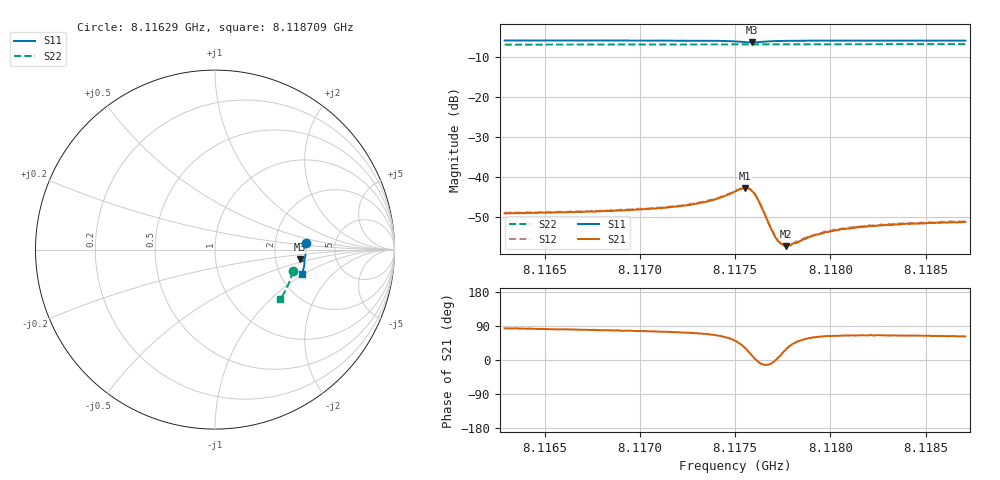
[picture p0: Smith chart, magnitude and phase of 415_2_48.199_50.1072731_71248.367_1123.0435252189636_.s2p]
#  HZ  S  RI  R  50.00
! Rohde & Schwarz Vector Network Analyzer
! Rohde-Schwarz,ZNB20-2Port,1311601062101988,3.16
! Created: UTC 3/20/2024, 11:54:41 AM
! freq[Hz]  re:S11  im:S11  re:S21  im:S21  re:S12  im:S12  re:S22  im:S22
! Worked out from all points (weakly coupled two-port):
!   401 points, 8.11629 GHz to 8.118709 GHz, reference 50 ohm
!   highest |S21| = -42.72 dB at 8.117554 GHz (marker M1); lowest = -57.2 dB at 8.117766 GHz (marker M2)
!   lowest |S11| = -6.4 dB at 8.11759 GHz (marker M3), VSWR 2.83, Z = 139 - j19.1 ohm
!   |S11| at or under -10 dB: nowhere
!   |S22| runs from -6.9 to -6.8 dB; largest |S21 - S12| = 0.00019
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8.1162897e9  0.5058 0.0367  0.0004 0.00352  0.000462 0.00358  0.433 -0.1207
8.1166949e9  0.5064 0.00597  0.000657 0.00362  0.000693 0.0037  0.4257 -0.1479
8.1171002e9  0.5048 -0.0257  0.00107 0.00399  0.00112 0.00405  0.4166 -0.1748
8.1172393e9  0.5033 -0.0374  0.00138 0.00422  0.00143 0.00429  0.4129 -0.1839
8.1173361e9  0.5013 -0.0462  0.00175 0.00457  0.00182 0.00462  0.4103 -0.1902
8.1174208e9  0.4979 -0.0549  0.00249 0.00496  0.00257 0.00503  0.4078 -0.1956
8.1174994e9  0.4899 -0.0627  0.00416 0.00517  0.0043 0.00525  0.4053 -0.2007
8.1175539e9  0.4789 -0.0617  0.00628 0.00376  0.00643 0.0038  0.4033 -0.2039
8.117572e9  0.4761 -0.0581  0.00668 0.00257  0.00687 0.00256  0.4028 -0.2046
8.1175902e9  0.4754 -0.0531  0.00655 0.00128  0.00672 0.00124  0.4024 -0.2056
8.1176083e9  0.4778 -0.0487  0.00587 0.000121  0.00596 5.67e-05  0.4019 -0.2065
8.1176265e9  0.4818 -0.0462  0.00485 -0.000583  0.00493 -0.00066  0.4017 -0.2074
8.1176809e9  0.4925 -0.0489  0.00245 -0.000482  0.0025 -0.000548  0.4006 -0.211
8.1177111e9  0.4955 -0.0527  0.00179 -3.01e-05  0.00182 -5.49e-05  0.3998 -0.2131
8.1177353e9  0.4968 -0.0558  0.00149 0.000271  0.00153 0.000321  0.3991 -0.2147
8.1177656e9  0.498 -0.0596  0.00124 0.000619  0.00128 0.000632  0.3982 -0.2167
8.1177898e9  0.4984 -0.0623  0.0011 0.000865  0.00118 0.000853  0.3976 -0.2182
8.1179047e9  0.4987 -0.0737  0.00095 0.00157  0.000959 0.00158  0.3938 -0.2255
8.1179773e9  0.498 -0.0802  0.000955 0.00186  0.000935 0.0019  0.3915 -0.23
8.1180559e9  0.4971 -0.0868  0.000971 0.00203  0.00101 0.00205  0.3888 -0.235
8.11831e9  0.4933 -0.1066  0.0011 0.00228  0.00114 0.00235  0.3801 -0.2505
8.1187092e9  0.4859 -0.1361  0.00129 0.00246  0.00133 0.00252  0.3648 -0.274
